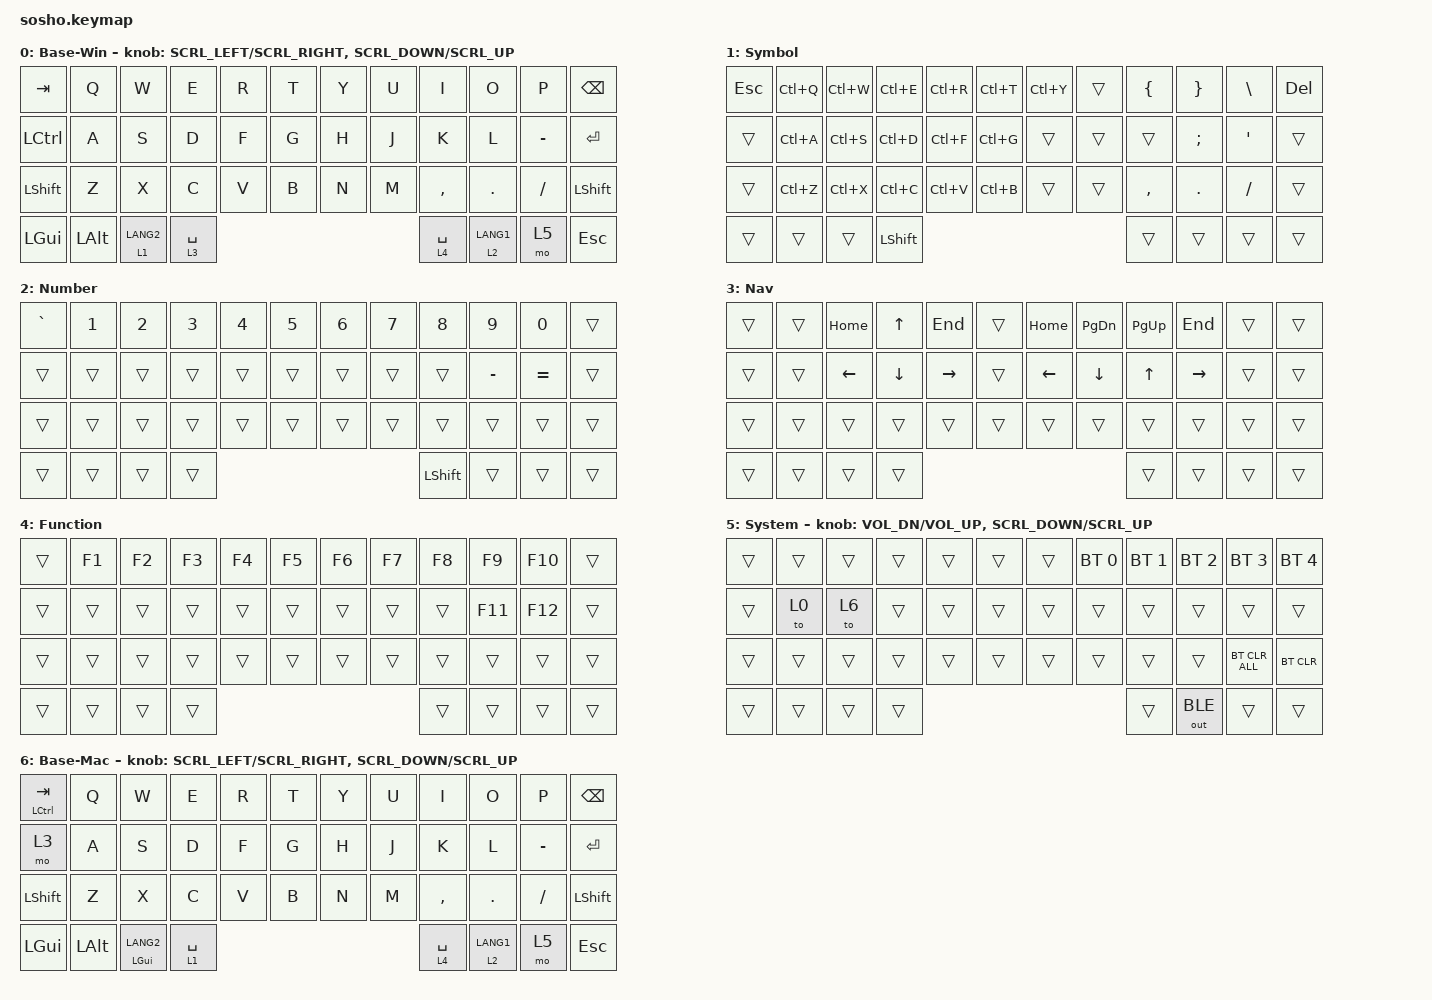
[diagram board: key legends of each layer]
//スクロール量の調整(デフォルト150)
#define ZMK_POINTING_DEFAULT_SCRL_VAL 150

#include <behaviors.dtsi>
#include <dt-bindings/zmk/bt.h>
#include <dt-bindings/zmk/keys.h>
#include <dt-bindings/zmk/pointing.h>
#include <dt-bindings/zmk/outputs.h>

/ {
	behaviors {
        ec_ms_l: ec_ms_h {
            compatible = "zmk,behavior-encoder-mouse-scroll";
            #sensor-binding-cells = <2>;
        };
        ec_ms_r: ec_ms_v {
            compatible = "zmk,behavior-encoder-mouse-scroll";
            #sensor-binding-cells = <2>;
        };
    };
};

//スクロールの調整
&msc {
    time-to-max-speed-ms = <300>;  // 300msかけて最大速度まで加速
    acceleration-exponent = <1>;   // 加速アリ（1=線形／2で強め）
};

//長押し（ホールド）判定までの時間。デフォルト200ms → 短く
&lt {
    tapping-term-ms = <150>;
};
&mt {
    tapping-term-ms = <150>;
};

/{
    combos {
        compatible = "zmk,combos";
		//左クリックのコンボ 19はJのキー 20はKのキーに相当します。
	    combo_LCLK {
            timeout-ms = <50>;
            key-positions = <19 20>;
            bindings = <&mkp LCLK>;
        };

		//右クリックのコンボ 20 K 21 L
        combo_RCLK {
            timeout-ms = <50>;
            key-positions = <20 21>;
            bindings = <&mkp RCLK>;
        };

		//ホイールクリックのコンボ 19 J 21 L
	    combo_MCLK {
            timeout-ms = <90>;
            key-positions = <19 21>;
            bindings = <&mkp MCLK>;
        };

    };
};

/{
keymap {
    compatible = "zmk,keymap";

    default_layer {
        display-name = "Base-Win";
        bindings = <
            &kp TAB    &kp Q   &kp W  &kp E  &kp R  &kp T           &kp Y  &kp U  &kp I      &kp O    &kp P      &kp BSPC
            &kp LCTRL  &kp A   &kp S  &kp D  &kp F  &kp G           &kp H  &kp J  &kp K      &kp L    &kp MINUS  &kp ENTER
            &kp LSHFT  &kp Z   &kp X  &kp C  &kp V  &kp B           &kp N  &kp M  &kp COMMA  &kp DOT  &kp SLASH  &kp LSHFT
            &kp LGUI   &kp LALT      &lt 1 LANG2      &lt 3 SPACE   &lt 4 SPACE  &lt 2 LANG1        &mo 5       &kp ESC
        >;
		//&ec_ms_lとrは、上のビヘイビアで作ったもの。
        sensor-bindings = <&ec_ms_l SCRL_LEFT SCRL_RIGHT &ec_ms_r SCRL_DOWN SCRL_UP>;
    };

    layer_1 {
        display-name = "Symbol";
        bindings = <
            &kp ESC &kp LC(Q) &kp LC(W) &kp LC(E) &kp LC(R) &kp LC(T)     &kp LC(Y) &trans &kp LBRC   &kp RBRC &kp BSLH  &kp DEL
            &trans  &kp LC(A) &kp LC(S) &kp LC(D) &kp LC(F) &kp LC(G)     &trans &trans &trans     &kp SEMI &kp SQT   &trans
            &trans  &kp LC(Z) &kp LC(X) &kp LC(C) &kp LC(V) &kp LC(B)     &trans &trans &kp COMMA  &kp DOT  &kp SLASH &trans
            &trans  &trans        &trans    &kp LSHFT      &trans &trans            &trans   &trans
        >;
    };

    layer_2 {
        display-name = "Number";
        bindings = <
            &kp GRAVE &kp N1 &kp N2 &kp N3 &kp N4 &kp N5    &kp N6 &kp N7 &kp N8 &kp N9    &kp N0    &trans
            &trans    &trans &trans &trans &trans &trans    &trans &trans &trans &kp MINUS &kp EQUAL &trans
            &trans    &trans &trans &trans &trans &trans    &trans &trans &trans &trans    &trans    &trans
            &trans    &trans        &trans &trans           &kp LSHFT &trans              &trans     &trans
        >;
    };

    layer_3 {
        display-name = "Nav";
        bindings = <
            &trans &trans    &kp HOME &kp UP   &kp END   &trans    &kp HOME &kp PG_DN &kp PG_UP &kp END   &trans &trans
            &trans &trans    &kp LEFT &kp DOWN &kp RIGHT &trans    &kp LEFT &kp DOWN  &kp UP    &kp RIGHT &trans &trans
            &trans &trans    &trans   &trans   &trans    &trans    &trans   &trans    &trans    &trans    &trans &trans
            &trans &trans             &trans   &trans    &trans    &trans                       &trans    &trans
        >;
    };

    layer_4 {
        display-name = "Function";
        bindings = <
            &trans &kp F1 &kp F2 &kp F3 &kp F4 &kp F5    &kp F6 &kp F7 &kp F8 &kp F9  &kp F10 &trans
            &trans &trans &trans &trans &trans &trans    &trans &trans &trans &kp F11 &kp F12 &trans
            &trans &trans &trans &trans &trans &trans    &trans &trans &trans &trans  &trans  &trans
            &trans &trans        &trans &trans           &trans &trans               &trans   &trans
        >;
    };

    layer_5 {
        display-name = "System";
        bindings = <
            &trans &trans &trans &trans &trans &trans     &trans &bt BT_SEL 0 &bt BT_SEL 1 &bt BT_SEL 2 &bt BT_SEL 3   &bt BT_SEL 4
            &trans &to 0   &to 6  &trans &trans &trans     &trans &trans       &trans       &trans       &trans         &trans
            &trans &trans &trans &trans &trans &trans     &trans &trans       &trans       &trans       &bt BT_CLR_ALL &bt BT_CLR
            &trans &trans        &trans &trans            &trans &out OUT_BLE                            &trans         &trans
        >;
		//システムレイヤーのときだけ、左手のエンコーダを回すとボリュームの上下ができます。
		sensor-bindings = <&inc_dec_kp C_VOL_DN C_VOL_UP &ec_ms_r SCRL_DOWN SCRL_UP>;
    };

    //Mac用ベースレイヤー。System(5)の&to 6で切替、&to 0でWindowsに戻る。
    //IMEキーはWindows(layer0)と共通：かな=LANG1 / 英数=LANG2。
    //違いは左親指の修飾（Mac=LGUI / Win=LCTRL）と左上キー（Mac=mt LCTRL TAB / Win=TAB）。
    base_mac_layer {
        display-name = "Base-Mac";
        bindings = <
            &mt LCTRL TAB  &kp Q   &kp W  &kp E  &kp R  &kp T       &kp Y  &kp U  &kp I      &kp O    &kp P      &kp BSPC
            &mo 3      &kp A   &kp S  &kp D  &kp F  &kp G           &kp H  &kp J  &kp K      &kp L    &kp MINUS  &kp ENTER
            &kp LSHFT  &kp Z   &kp X  &kp C  &kp V  &kp B           &kp N  &kp M  &kp COMMA  &kp DOT  &kp SLASH  &kp LSHFT
            &kp LGUI   &kp LALT      &mt LGUI LANG2  &lt 1 SPACE   &lt 4 SPACE  &lt 2 LANG1        &mo 5       &kp ESC
        >;
        sensor-bindings = <&ec_ms_l SCRL_LEFT SCRL_RIGHT &ec_ms_r SCRL_DOWN SCRL_UP>;
    };
};
};
